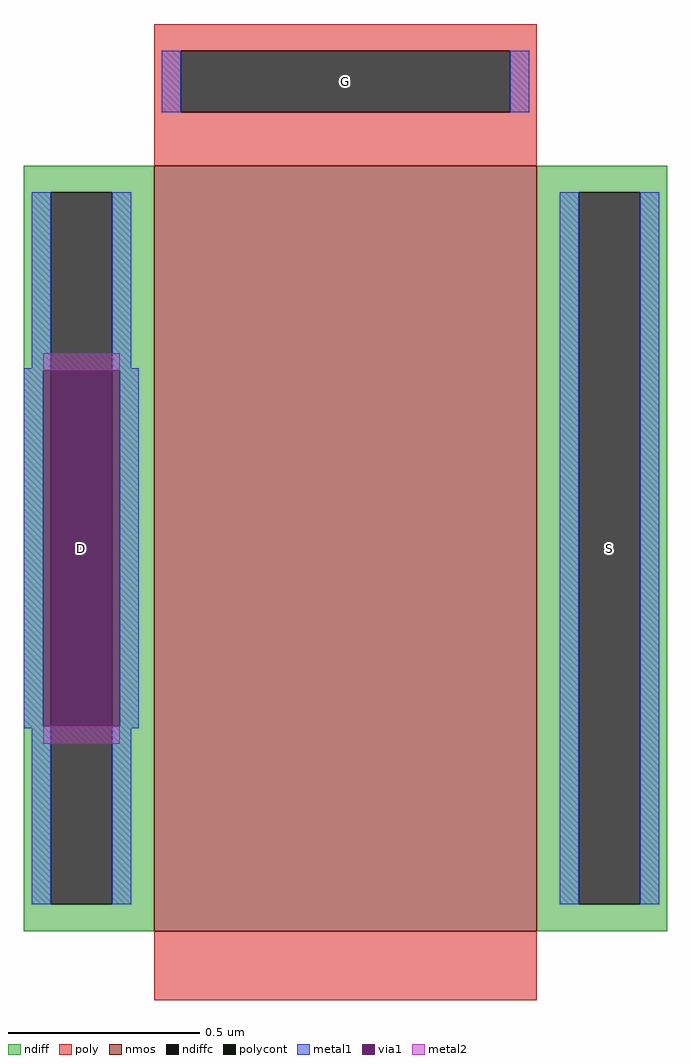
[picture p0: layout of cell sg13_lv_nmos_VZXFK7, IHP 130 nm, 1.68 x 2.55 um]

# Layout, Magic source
magic
tech ihp-sg13g2
magscale 1 2
<< nmos >>
rect -100 -219 100 181
<< ndiff >>
rect -168 167 -100 181
rect -168 -205 -154 167
rect -122 -205 -100 167
rect -168 -219 -100 -205
rect 100 167 168 181
rect 100 -205 122 167
rect 154 -205 168 167
rect 100 -219 168 -205
<< ndiffc >>
rect -154 -205 -122 167
rect 122 -205 154 167
<< poly >>
rect -100 241 100 255
rect -100 209 -86 241
rect 86 209 100 241
rect -100 181 100 209
rect -100 -255 100 -219
<< polycont >>
rect -86 209 86 241
<< metal1 >>
rect -96 209 -86 241
rect 86 209 96 241
rect -164 75 -154 167
rect -168 74 -154 75
rect -122 75 -112 167
rect -122 74 -108 75
rect -168 -112 -158 74
rect -118 -112 -108 74
rect -168 -113 -154 -112
rect -164 -205 -154 -113
rect -122 -113 -108 -112
rect -122 -205 -112 -113
rect 112 -205 122 167
rect 154 -205 164 167
<< via1 >>
rect -158 -112 -154 74
rect -154 -112 -122 74
rect -122 -112 -118 74
<< metal2 >>
rect -158 74 -118 83
rect -158 -121 -118 -112
<< labels >>
rlabel ndiffc -138 -19 -138 -19 0 D
port 1 nsew
rlabel ndiffc 138 -19 138 -19 0 S
port 2 nsew
rlabel polycont 0 225 0 225 0 G
port 3 nsew
<< properties >>
string gencell sg13_lv_nmos
string library sg13g2
string parameters w 2 l 1 m 1 nf 1 diffcov 100 polycov 100 guard 0 glc 1 grc 1 gtc 1 gbc 1 tbcov 100 rlcov 100 topc 1 botc 0 poverlap 0 doverlap 1 lmin 0.13 wmin 0.15 class mosfet compatible {sg13_lv_nmos sg13_hv_nmos} full_metal 1 conn_gates 0 gate_ring 0 doports 1 viasrc 0 viadrn 50 viagate 0 ccols 1 viagb 0 viagr 0 viagl 0 viagt 0
<< end >>
